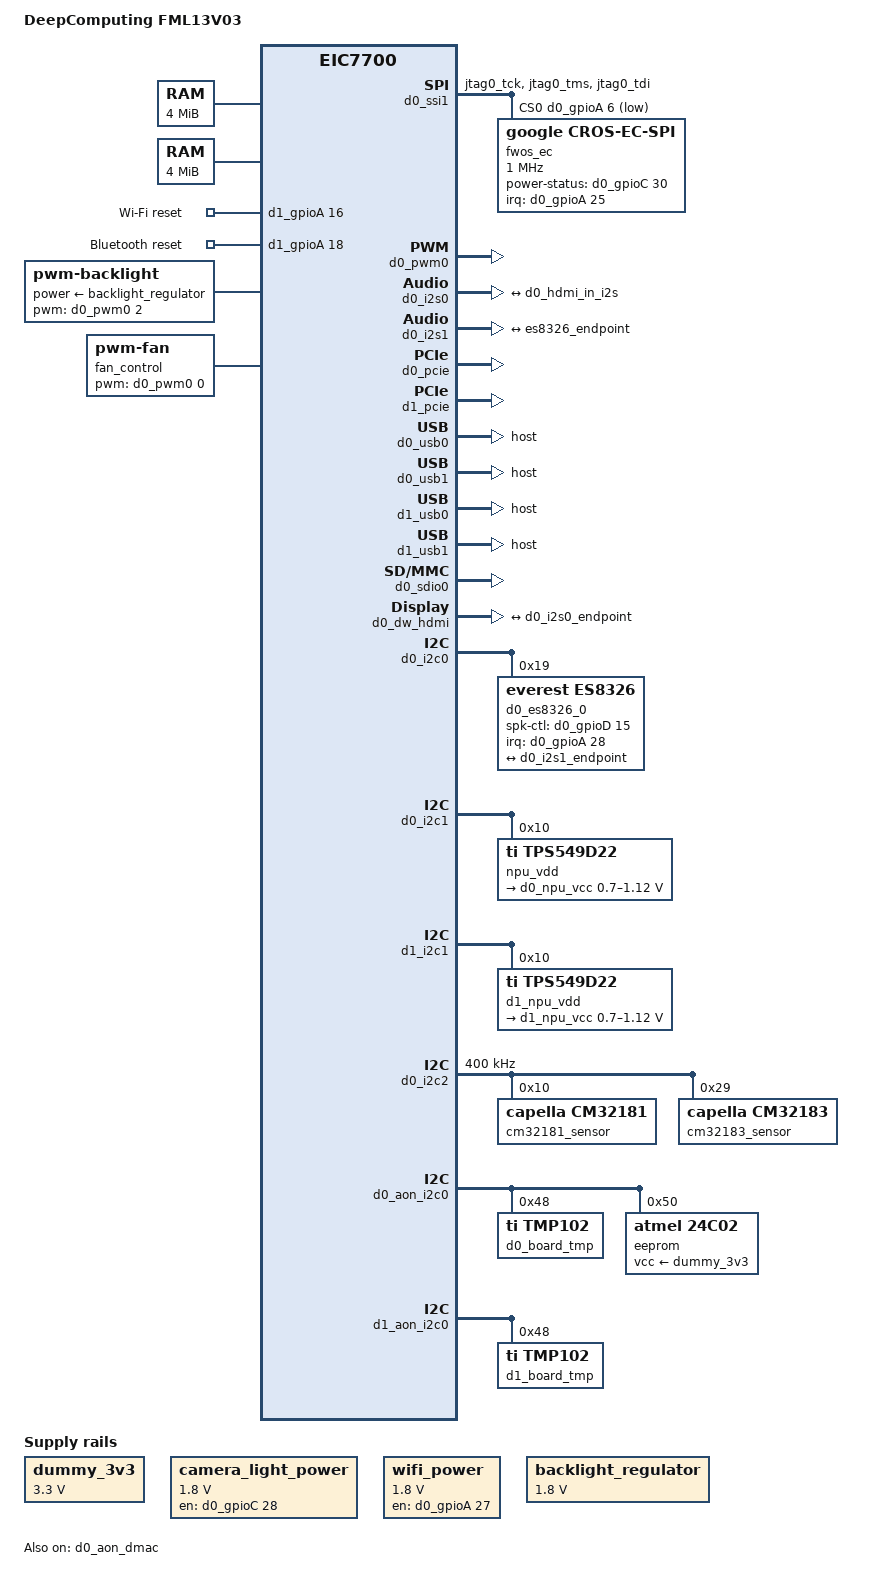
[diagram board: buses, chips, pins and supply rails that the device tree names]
// SPDX-License-Identifier: GPL-2.0
/*
 * DeepComputing FML13V03 (EIC7702).
 *
 * Same SoC/module layer as D560: eic7702-som560.dtsi
 * This file is only the FML13V03 board overlay, structured like
 * eic7702-d560.dts (do not include that board DTS).
 */

/dts-v1/;

#include "eic7702-som560.dtsi"
#include <dt-bindings/pwm/pwm.h>

/ {
	model = "DeepComputing FML13V03";
	compatible = "deepcomputing,fml13v03", "eswin,eic7x", "eswin,eic7700";

	aliases {
		serial0 = &d0_uart0;
		mmc0 = &d0_sdio0;
		/delete-property/ ethernet0;
		/delete-property/ ethernet1;
		/delete-property/ ethernet2;
		/delete-property/ ethernet3;
	};

	/* old FML13V03 NPU SPRAM windows */
	memory@59000000 {
		device_type = "memory";
		reg = <0x0 0x59000000 0x0 0x400000>;
		numa-node-id = <0>;
	};

	memory@79000000 {
		device_type = "memory";
		reg = <0x0 0x79000000 0x0 0x400000>;
		numa-node-id = <1>;
	};

	dummy_3v3: regulator-dummy {
		compatible = "regulator-fixed";
		regulator-name = "dummy";
		regulator-min-microvolt = <3300000>;
		regulator-max-microvolt = <3300000>;
		regulator-always-on;
	};

	/* old: regulator-gpio69 / die0 GPIO92 */
	camera_light_power: regulator-camera-light {
		compatible = "regulator-fixed";
		regulator-name = "camera-light-power";
		regulator-min-microvolt = <1800000>;
		regulator-max-microvolt = <1800000>;
		gpio = <&d0_gpioC 28 GPIO_ACTIVE_HIGH>;
		enable-active-high;
		pinctrl-names = "default";
		pinctrl-0 = <&d0_gpio92_pins>;
		regulator-always-on;
	};

	/* old: regulator-gpio27 */
	wifi_power: regulator-wifi {
		compatible = "regulator-fixed";
		regulator-name = "wifi-power";
		regulator-min-microvolt = <1800000>;
		regulator-max-microvolt = <1800000>;
		gpios = <&d0_gpioA 27 GPIO_ACTIVE_HIGH>;
		enable-active-high;
		startup-delay-us = <20000>;
		pinctrl-names = "default";
		pinctrl-0 = <&d0_gpio27_pins>;
		regulator-always-on;
		regulator-boot-on;
	};

	/*
	 * M.2 Key E WLAN/BT rfkill. Own the GPIOs here — do not also
	 * attach them to d1_pcie pinctrl, or the controller steals them.
	 */
	rfkill_wifi {
		compatible = "rfkill-gpio";
		label = "Wi-Fi";
		radio-type = "wlan";
		reset-gpios = <&d1_gpioA 16 GPIO_ACTIVE_HIGH>;
		pinctrl-names = "default";
		pinctrl-0 = <&d1_gpio16_pins>;
		status = "okay";
	};

	rfkill_bt {
		compatible = "rfkill-gpio";
		label = "Bluetooth";
		radio-type = "bluetooth";
		reset-gpios = <&d1_gpioA 18 GPIO_ACTIVE_HIGH>;
		pinctrl-names = "default";
		pinctrl-0 = <&d1_gpio18_pins>;
		status = "okay";
	};

	backlight_regulator: regulator-backlight {
		compatible = "regulator-fixed";
		regulator-name = "backlight-power";
		regulator-min-microvolt = <1800000>;
		regulator-max-microvolt = <1800000>;
		regulator-always-on;
	};

	backlight: backlight {
		compatible = "pwm-backlight";
		pwms = <&d0_pwm0 2 200000 PWM_POLARITY_INVERTED>;
		power-supply = <&backlight_regulator>;
		default-brightness-level = <128>;
	};

	fan_control: pwm-fan {
		compatible = "pwm-fan";
		pwms = <&d0_pwm0 0 100000 PWM_POLARITY_INVERTED>;
	};

	/*
	 * Die dtsi on this branch has no SPI / I2S / PWM controller
	 * nodes. Describe them only in this board file (same MMIO as
	 * the old FML13V03 tree) so die/som560 stay untouched.
	 */
	soc {
		d0_ssi1: spi@50814000 {
			compatible = "snps,dw-apb-ssi";
			reg = <0x0 0x50814000 0x0 0x4000>;
			#address-cells = <1>;
			#size-cells = <0>;
			clocks = <&d0_clocks EIC7700_CLK_GATE_LSP_SSI1_PCLK>;
			clock-names = "pclk";
			resets = <&d0_reset EIC7700_RESET_SSI1>;
			reset-names = "spi";
			interrupts = <92>;
			interrupt-parent = <&d0_plic>;
			num-cs = <1>;
			/* GPIO CS only: native SPI CS drops when the TX FIFO
			 * empties and breaks the Cros-EC multi-transfer frame.
			 */
			cs-gpios = <&d0_gpioA 6 GPIO_ACTIVE_LOW>;
			pinctrl-names = "default";
			pinctrl-0 = <&d0_spi2_data_pins &d0_gpio6_pins>;
			numa-node-id = <0>;
			status = "okay";

			fwos_ec: ec@0 {
				compatible = "google,cros-ec-spi";
				reg = <0>;
				spi-max-frequency = <1000000>;
				rx-sample-delay-ns = <10>;
				google,cros-ec-spi-pre-delay = <10>;
				google,cros-ec-spi-msg-delay = <10>;
				interrupt-parent = <&d0_gpioA>;
				interrupts = <25 IRQ_TYPE_LEVEL_LOW>;
				power-status-gpios = <&d0_gpioC 30 GPIO_ACTIVE_HIGH>;
				pinctrl-names = "default";
				pinctrl-0 = <&d0_gpio25_pins &d0_gpio62_pins>;

				keyboard-controller {
					compatible = "google,cros-ec-keyb-switches";
				};

				cros-ec-poweroff {
					compatible = "google,cros-ec-poweroff";
				};
			};
		};

		d0_pwm0: pwm@50818000 {
			compatible = "eswin,pwm-eswin";
			#pwm-cells = <3>;
			reg = <0x0 0x50818000 0x0 0x4000>;
			clocks = <&d0_clocks EIC7700_CLK_GATE_LSP_TIMER_PCLK>;
			clock-names = "pclk";
			resets = <&d0_reset EIC7700_RESET_TIMER>;
			reset-names = "rst";
			pinctrl-names = "default";
			pinctrl-0 = <&d0_fan_pwm_pins &d0_pwm2_pins>;
			numa-node-id = <0>;
			status = "okay";
		};

		/*
		 * AON AXI DMAC used by I2S (old tree 518c0000).
		 * 3-cell specifier: <chan handshake dma-sel-bit>.
		 *
		 * Die0 AON DMA only reaches die0 DRAM at 0x80000000.
		 * Do not copy the 6.6 0x3ff_80000000 window: that also
		 * covers die1 0x20xxxxxxxx 1:1, and LLP then stays at
		 * 0x20... with SAR/DAR=0.
		 */
		d0_sys_con: syscon@51810000 {
			compatible = "eswin,eic7700-syscfg", "syscon";
			reg = <0x0 0x51810000 0x0 0x8000>;
			numa-node-id = <0>;
		};

		d0_aon_subsys: aon-subsys-bus {
			compatible = "simple-bus";
			#address-cells = <2>;
			#size-cells = <2>;
			ranges;
			/*
			 * Die0 DRAM 1:1 at 0x80000000. AON DMA addresses
			 * stay 0x8xxxxxxx (same as 6.6). CPU publishes
			 * descriptors through the 0xc0 uncached alias.
			 */
			dma-ranges = <0xc0 0x00000000 0x0 0x80000000
				      0xf 0x80000000>;

			d0_aon_dmac: dma-controller@518c0000 {
				compatible = "eswin,eic770x-axi-dma";
				reg = <0x0 0x518c0000 0x0 0x10000>;
				interrupt-parent = <&d0_plic>;
				interrupts = <289>;
				#dma-cells = <3>;
				clocks = <&d0_clocks EIC7700_CLK_GATE_AONDMA_ACLK>,
					 <&d0_clocks EIC7700_CLK_GATE_AONDMA_CFG>;
				clock-names = "core-clk", "cfgr-clk";
				resets = <&d0_reset EIC7700_RESET_DMA1_ARST>,
					 <&d0_reset EIC7700_RESET_DMA1_HRST>;
				reset-names = "arst", "prst";
				dma-channels = <16>;
				snps,dma-masters = <2>;
				snps,priority = <0 1 2 3 4 5 6 7 8 9 10 11 12 13 14 15>;
				snps,data-width = <3>;
				snps,block-size = <0x80000 0x80000 0x80000 0x80000
						   0x80000 0x80000 0x80000 0x80000
						   0x80000 0x80000 0x80000 0x80000
						   0x80000 0x80000 0x80000 0x80000>;
				snps,axi-max-burst-len = <64>;
				eswin,syscfg = <&d0_sys_con 0 0x370>;
				numa-node-id = <0>;
				dma-noncoherent;
				status = "okay";
			};
		};

		/*
		 * ESWIN I2S driver (snps,i2s) keys off the node-name
		 * prefix i2s0/i2s1 and clocks named mclk/apll.
		 */
		d0_i2s0: i2s0@50200000 {
			compatible = "snps,i2s";
			reg = <0x0 0x50200000 0x0 0x10000>;
			#address-cells = <1>;
			#size-cells = <0>;
			#sound-dai-cells = <0>;
			clocks = <&d0_clocks EIC7700_CLK_GATE_VO_I2S_MCLK>,
				 <&d0_clocks EIC7700_CLK_APLL_FOUT1>;
			clock-names = "mclk", "apll";
			resets = <&d0_reset EIC7700_RESET_VO_I2S>,
				 <&d0_reset EIC7700_RESET_VO_I2S_PRST>,
				 <&d0_reset EIC7700_RESET_VO_PRST>;
			reset-names = "i2srst", "i2sprst", "voprst";
			dmas = <&d0_aon_dmac 4 4 0>, <&d0_aon_dmac 5 5 0>;
			dma-names = "rx", "tx";
			dma-noncoherent;
			numa-node-id = <0>;
			status = "okay";

			d0_i2s0_port: port {
				d0_i2s0_endpoint: endpoint {
					remote-endpoint = <&d0_hdmi_in_i2s>;
					dai-format = "i2s";
				};
			};
		};

		d0_i2s1: i2s1@50210000 {
			compatible = "snps,i2s";
			reg = <0x0 0x50210000 0x0 0x10000>;
			#address-cells = <1>;
			#size-cells = <0>;
			#sound-dai-cells = <0>;
			clocks = <&d0_clocks EIC7700_CLK_GATE_VO_I2S_MCLK>,
				 <&d0_clocks EIC7700_CLK_APLL_FOUT1>;
			clock-names = "mclk", "apll";
			dmas = <&d0_aon_dmac 6 2 1>, <&d0_aon_dmac 7 3 1>;
			dma-names = "rx", "tx";
			dma-noncoherent;
			pinctrl-names = "default";
			pinctrl-0 = <&d0_i2s1_pins>;
			numa-node-id = <0>;
			status = "okay";

			d0_i2s1_port: port {
				d0_i2s1_endpoint: endpoint {
					remote-endpoint = <&es8326_endpoint>;
					dai-format = "i2s";
				};
			};
		};
	};

	d0_graphcard1: graphcard1 {
		compatible = "audio-graph-card";
		label = "ES8326 Audio";
		dais = <&d0_i2s1_port>;
		status = "okay";
	};

	/* HDMI I2S DAI is registered; card stays disabled like old FML13 */
	d0_graphcard0: graphcard0 {
		compatible = "audio-graph-card";
		label = "HDMI Audio-0";
		dais = <&d0_i2s0_port>;
		status = "disabled";
	};

	reserved-memory {
		npu0_reserved: sprammemory@59000000 {
			no-map;
			reg = <0x0 0x59000000 0x0 0x400000>;
		};

		npu1_reserved: sprammemory@79000000 {
			no-map;
			reg = <0x0 0x79000000 0x0 0x400000>;
		};

		ramoops@fff00000 {
			compatible = "ramoops";
			reg = <0x0 0xfff00000 0x0 0x100000>;
			console-size = <0x40000>;
			record-size = <0x40000>;
			ftrace-size = <0x40000>;
			pmsg-size = <0x40000>;
			no-map;
		};

		lpcpu_reserved: g2d_8GB_boundary_reserved_4k {
			no-map;
			reg = <0x1 0xfe000000 0x0 0x2000000>;
		};

		g2d_12GB_boundary_reserved_4k {
			no-map;
			reg = <0x2 0xfffff000 0x0 0x1000>;
		};

		mmz_nid_0_part_0 {
			compatible = "eswin-reserve-memory";
			reg = <0x3 0x0 0x1 0x80000000>;
			no-map;
		};

		d1_g2d_4GB_boundary_reserved_4k {
			no-map;
			reg = <0x20 0xfffff000 0x0 0x1000>;
		};

		d1_lpcpu_reserved: d1_g2d_8GB_boundary_reserved_4k {
			no-map;
			reg = <0x21 0xfe000000 0x0 0x2000000>;
		};

		mmz_nid_1_part_0 {
			compatible = "eswin-reserve-memory";
			reg = <0x22 0x80000000 0x1 0x80000000>;
			no-map;
		};
	};
};

&d0_clock_24m {
	clock-frequency = <24000000>;
	clock-output-names = "d0_clock_24m";
};

&d1_clock_24m {
	clock-frequency = <24000000>;
	clock-output-names = "d1_clock_24m";
};

/* touchpad IRQ */
&d0_gpio20_pins {
	input-enable;
	bias-disable;
};

/* wifi power (old GPIO27). Drive the pad as GPIO output. */
&d0_gpio27_pins {
	function = "gpio";
	input-disable;
	bias-pull-up;
	drive-strength-microamp = <12000>;
};

/* camera light (old GPIO92) */
&d0_gpio92_pins {
	function = "gpio";
	input-disable;
	bias-disable;
};

/* wifi rfkill: die1 GPIO16 */
&d1_gpio16_pins {
	function = "gpio";
	input-disable;
	bias-pull-up;
};

/* bt rfkill: die1 GPIO18 */
&d1_gpio18_pins {
	function = "gpio";
	input-disable;
	bias-pull-up;
};

/* codec IRQ */
&d0_gpio28_pins {
	function = "gpio";
	input-enable;
	bias-disable;
};

/* codec speaker enable (old GPIO111 / portd15) */
&d0_gpio111_pins {
	function = "gpio";
	input-disable;
	bias-disable;
};

/* M.2 SSD Key M — no D560 pci-socket GPIO */
&d0_pcie {
	status = "okay";
};

/* M.2 Wi-Fi Key E. rfkill GPIOs stay on the rfkill nodes.
 * AX210 INIT ucode times out (-110) with ASPM L1 on this RC.
 */
&d1_pcie {
	status = "okay";
	aspm-no-l0s;
	aspm-no-l1;
};

/*
 * som560 already enables the four DWC3 ports as host. Restate
 * host mode and mux usb*_pwren so Type-A / internal hubs get VBUS.
 * Die dtsi caps maximum-speed at high-speed; leave that as-is
 * (PHY is UTMI, not a USB3 SuperSpeed pipe).
 */
&d0_usb0 {
	dr_mode = "host";
	pinctrl-names = "default";
	pinctrl-0 = <&d0_usb0_pwren_pins>;
	status = "okay";
};

&d0_usb1 {
	dr_mode = "host";
	pinctrl-names = "default";
	pinctrl-0 = <&d0_usb1_pwren_pins>;
	status = "okay";
};

&d1_usb0 {
	dr_mode = "host";
	pinctrl-names = "default";
	pinctrl-0 = <&d1_usb0_pwren_pins>;
	status = "okay";
};

&d1_usb1 {
	dr_mode = "host";
	pinctrl-names = "default";
	pinctrl-0 = <&d1_usb1_pwren_pins>;
	status = "okay";
};

&d1_gpu {
	status = "disabled";
};

&d0_sdio0 {
	eswin,drive-impedance-ohms = <33>;
	disable-wp;
	no-mmc;
	no-sdio;
	status = "okay";
};

/* FML13 Wi-Fi is PCIe, not SDIO */
&d1_sdio0 {
	status = "disabled";
};

&d0_sdhci_emmc {
	status = "disabled";
};

&d0_sata {
	status = "disabled";
};

&d1_sata {
	status = "disabled";
};

&d0_gmac0 {
	status = "disabled";
};

&d0_gmac1 {
	status = "disabled";
};

&d1_gmac0 {
	status = "disabled";
};

&d1_gmac1 {
	status = "disabled";
};

/* only debug UART; drop D560 MCU/header/BT UARTs */
&d0_uart2 {
	status = "disabled";
};

&d0_uart3 {
	status = "disabled";
};

&d1_uart1 {
	status = "disabled";
};

&d1_uart2 {
	status = "disabled";
};

&d0_wdt0 {
	status = "disabled";
};

&d0_wdt1 {
	status = "disabled";
};

&d0_wdt2 {
	status = "disabled";
};

&d0_wdt3 {
	status = "disabled";
};

&d1_wdt0 {
	status = "disabled";
};

&d1_wdt1 {
	status = "disabled";
};

&d1_wdt2 {
	status = "disabled";
};

&d1_wdt3 {
	status = "disabled";
};

/*
 * som560 puts NPU PMIC + tmp102 on AON I2C1 (D560 wiring).
 * Old FML13V03: PMIC on LSP I2C1, sensors on AON I2C0.
 */
&d0_aon_i2c1 {
	status = "disabled";
	/delete-node/ tmp102@48;
	/delete-node/ tps549d22@10;
};

&d1_aon_i2c1 {
	status = "disabled";
	/delete-node/ tps549d22@10;
};

/*
 * Shared som560 pinctrl marks I2S pins as function "hdmi", which
 * pinctrl-eic7700 rejects (those pins only have i2s/gpio). Overlay
 * the function here so the codec I2S block can probe.
 */
&d0_i2s1_pins {
	function = "i2s";
};

/*
 * Cros-EC SPI pinctrl must not put CS into SPI function.
 * CLK/MOSI/MISO = SPI; spi2_cs0_n (GPIO6) stays GPIO so software
 * can hold a long CS-low pulse across the whole EC frame.
 */
&d0_pinctrl {
	d0_spi2_data_pins: spi2-data-pins {
		pins = "jtag0_tck", "jtag0_tms", "jtag0_tdi";
		function = "spi";
		input-enable;
		bias-pull-up;
	};
};

&d0_gpio6_pins {
	pins = "spi2_cs0_n";
	function = "gpio";
	input-disable;
	bias-pull-up;
};

&d0_gpio25_pins {
	input-enable;
	bias-disable;
};

&d0_gpio62_pins {
	input-disable;
	bias-disable;
};

&d0_dw_hdmi {
	ports {
		port@2 {
			reg = <2>;
			d0_hdmi_in_i2s: endpoint@1 {
				system-clock-frequency = <12288000>;
				remote-endpoint = <&d0_i2s0_endpoint>;
			};
		};
	};
};

&d0_i2c0 {
	status = "okay";
	pinctrl-names = "default";
	pinctrl-0 = <&d0_i2c0_pins>;

	d0_es8326_0: es8326@19 {
		#sound-dai-cells = <0>;
		compatible = "everest,es8326";
		reg = <0x19>;
		clocks = <&d0_clocks EIC7700_CLK_GATE_VO_I2S_MCLK>;
		clock-names = "mclk";
		interrupt-parent = <&d0_gpioA>;
		interrupts = <28 IRQ_TYPE_EDGE_FALLING>;
		pinctrl-names = "default";
		pinctrl-0 = <&d0_gpio28_pins &d0_gpio111_pins>;
		spk-ctl-gpio = <&d0_gpioD 15 GPIO_ACTIVE_HIGH>;
		everest,jack-pol = [0e];
		everest,interrupt-src = [08];
		everest,interrupt-clk = [45];

		port {
			es8326_endpoint: endpoint {
				remote-endpoint = <&d0_i2s1_endpoint>;
			};
		};
	};
};

&d0_i2c1 {
	status = "okay";
	pinctrl-names = "default";
	pinctrl-0 = <&d0_i2c1_pins>;

	tps549d22@10 {
		compatible = "ti,tps549d22";
		reg = <0x10>;
		eswin,regulator_default-microvolt = <1000000>;
		label = "npu_vdd";
		regulators {
			d0_npu_vcc: npu_svcc {
				regulator-name = "NPU_SVCC";
				regulator-min-microvolt = <700000>;
				regulator-max-microvolt = <1120000>;
				regulator-min-microamp = <20000000>;
				regulator-max-microamp = <40000000>;
				regulator-ov-protection-microvolt = <1100000>;
			};
		};
	};
};

&d1_i2c1 {
	status = "okay";
	pinctrl-names = "default";
	pinctrl-0 = <&d1_i2c1_pins>;

	tps549d22@10 {
		compatible = "ti,tps549d22";
		reg = <0x10>;
		eswin,regulator_default-microvolt = <1000000>;
		label = "d1_npu_vdd";
		regulators {
			d1_npu_vcc: npu_svcc {
				regulator-name = "NPU_SVCC2";
				regulator-min-microvolt = <700000>;
				regulator-max-microvolt = <1120000>;
				regulator-min-microamp = <20000000>;
				regulator-max-microamp = <40000000>;
				regulator-ov-protection-microvolt = <1100000>;
			};
		};
	};
};

&d0_i2c2 {
	status = "okay";
	clock-frequency = <I2C_BITRATE_FAST>;
	pinctrl-names = "default";
	pinctrl-0 = <&d0_i2c2_pins>;

	d0_touchpad: hid@2c {
		compatible = "hid-over-i2c";
		reg = <0x2c>;
		hid-descr-addr = <0x0020>;
		post-power-on-delay-ms = <200>;
		interrupt-parent = <&d0_gpioA>;
		interrupts = <20 IRQ_TYPE_LEVEL_LOW>;
		pinctrl-names = "default";
		pinctrl-0 = <&d0_gpio20_pins>;
		status = "okay";
	};

	cm32181_sensor: cm32181@10 {
		compatible = "capella,cm32181";
		reg = <0x10>;
		status = "okay";
	};

	cm32183_sensor: cm32183@29 {
		compatible = "capella,cm32183";
		reg = <0x29>;
		status = "okay";
	};
};

/* unused camera / header I2C — same as old FML13 */
&d0_i2c3 {
	status = "disabled";
};

&d0_i2c4 {
	status = "disabled";
};

&d0_i2c5 {
	status = "disabled";
};

&d0_i2c6 {
	status = "disabled";
};

&d0_i2c7 {
	status = "disabled";
};

&d0_i2c8 {
	status = "disabled";
};

&d0_i2c9 {
	status = "disabled";
};

&d1_i2c0 {
	status = "disabled";
};

&d1_i2c2 {
	status = "disabled";
};

&d1_i2c3 {
	status = "disabled";
};

&d1_i2c4 {
	status = "disabled";
};

&d1_i2c5 {
	status = "disabled";
};

&d1_i2c6 {
	status = "disabled";
};

&d1_i2c7 {
	status = "disabled";
};

&d1_i2c8 {
	status = "disabled";
};

&d1_i2c9 {
	status = "disabled";
};

&d0_aon_i2c0 {
	status = "okay";
	i2c-sda-hold-time-ns = <0x40>;

	tmp102@48 {
		compatible = "ti,tmp102";
		reg = <0x48>;
		label = "d0_board_tmp";
		#thermal-sensor-cells = <1>;
	};

	eeprom@50 {
		compatible = "atmel,24c02";
		reg = <0x50>;
		pagesize = <8>;
		vcc-supply = <&dummy_3v3>;
	};
};

&d1_aon_i2c0 {
	status = "okay";
	i2c-sda-hold-time-ns = <0x40>;

	tmp102@48 {
		compatible = "ti,tmp102";
		reg = <0x48>;
		label = "d1_board_tmp";
		#thermal-sensor-cells = <1>;
	};
};
